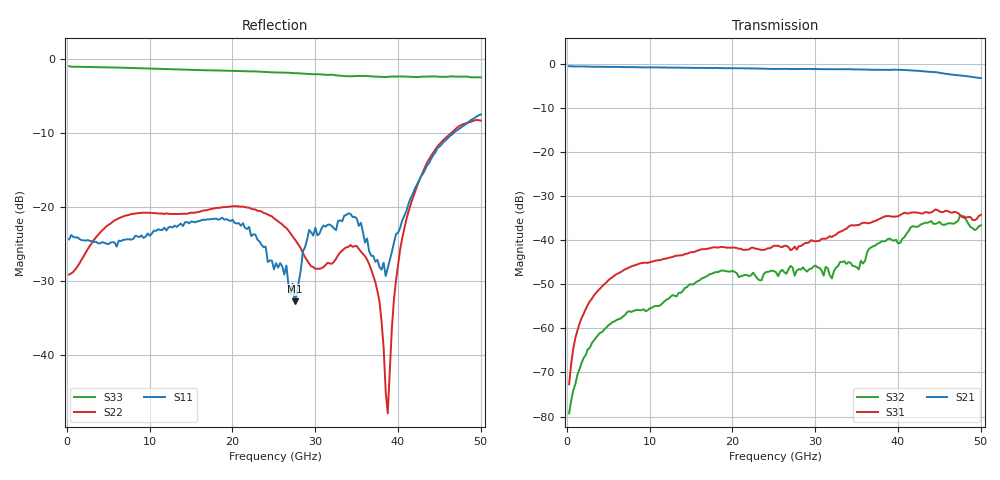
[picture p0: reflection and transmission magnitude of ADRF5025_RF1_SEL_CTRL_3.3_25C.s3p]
! Device:  ADRF5025
! Description: Silicon SPDT Switch, Reflective
! Frequency:  9kHz -  44.00 GHz
! Ports:
!  RFC = Port 1
!  RF1 = Port 2
!  RF2 = Port 3
! VDD  =  +3.30 Volts
! VSS  =  -3.30 Volts
! CTRL  =  +3.30 Volts
! Data:  Data was collected using an calibrated 4 port network analyzer
!  using G-S-G Probes on Probe Matrix Board.
!  The reference plane is the package pins of ADRF5025 switch.
! Notes: Analog Devices supplies this data as a sample of measured data
!  for this product.  Your particular data for this product may vary.
!  Data was taken at 25 degrees C.
!  Analog Devices reserves the right to change this data at anytime.
# GHz S  dB  R 50
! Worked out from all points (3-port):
!   200 points, 260 MHz to 50.01 GHz, reference 50 ohm
!   strongest paths, dB at 260 MHz, 12.76 GHz, 25.26 GHz, 37.76 GHz, 50.01 GHz:
!     S21: -0.5, -0.8, -1.1, -1.3, -3.2
!     S31: -72.7, -43.8, -41.3, -35.2, -34.2
!     S32: -79.3, -52.5, -47.3, -40.6, -36.6
!   lowest |S11| = -32.7 dB at 27.51 GHz (marker M1), VSWR 1.05, Z = 48.6 + j1.79 ohm
!   |S11| at or under -10 dB: start of sweep to 46.72 GHz
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0.26  -24.37 -2.6  -0.49 -2.6  -72.64 54.5
      -0.50 -2.7  -29.11 -12.2  -79.06 23.2
      -72.69 60.0  -79.28 43.7  -1.01 178.0
3.01  -24.59 -57.6  -0.61 -27.9  -53.11 66.4
      -0.63 -27.9  -24.87 -90.6  -63.31 63.6
      -53.28 66.7  -63.36 64.2  -1.13 158.6
11.01  -23.01 178.2  -0.77 -100.2  -44.58 15.6
       -0.76 -100.3  -20.88 -173.6  -54.97 26.5
       -44.55 15.3  -54.94 26.7  -1.38 99.9
18.76  -21.45 116.4  -0.91 -171.3  -41.51 -38.6
       -0.91 -171.2  -20.04 134.6  -46.86 -50.1
       -41.51 -38.6  -46.86 -50.0  -1.60 42.5
25.26  -27.58 99.0  -1.09 128.9  -41.26 -96.7
       -1.11 128.9  -21.74 84.6  -47.26 -155.3
       -41.27 -96.5  -47.27 -155.2  -1.86 -3.6
27.51  -32.72 127.2  -1.07 108.4  -41.25 -118.9
       -1.14 108.2  -24.34 75.3  -47.86 162.1
       -41.44 -119.1  -48.04 162.4  -1.96 -19.9
36.26  -24.25 72.2  -1.25 25.0  -36.16 153.2
       -1.28 24.8  -27.09 106.2  -42.73 109.5
       -36.12 152.4  -42.79 110.6  -2.35 -88.2
38.76  -28.21 -11.0  -1.32 0.4  -34.50 128.0
       -1.35 0.4  -47.83 -161.1  -39.67 74.7
       -34.51 128.9  -39.74 75.8  -2.45 -108.2
41.51  -18.83 -102.0  -1.47 -28.9  -33.66 101.8
       -1.45 -28.8  -19.74 -122.0  -37.10 61.2
       -33.73 101.6  -37.12 60.0  -2.44 -130.3
50.01  -7.51 155.2  -3.25 -117.1  -34.31 40.8
       -3.20 -117.5  -8.34 146.9  -36.65 -23.1
       -34.25 41.1  -36.59 -23.4  -2.53 170.6
